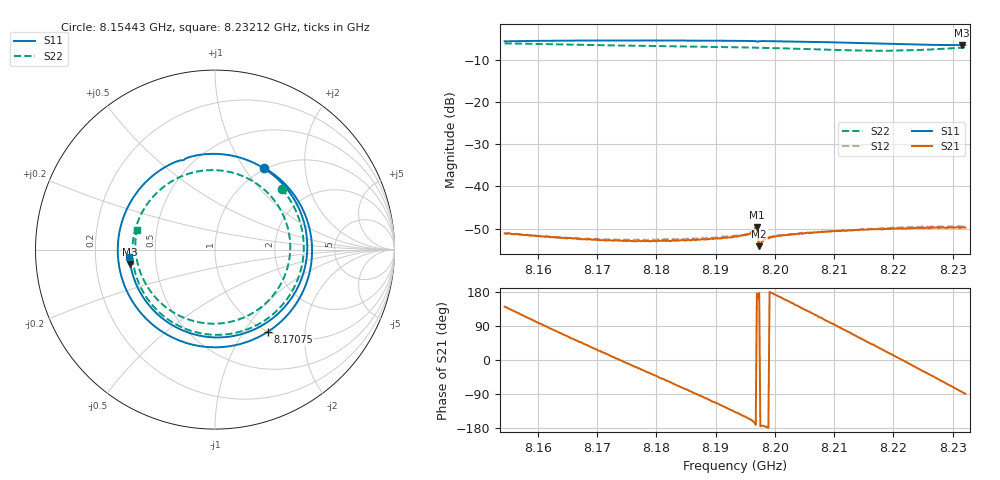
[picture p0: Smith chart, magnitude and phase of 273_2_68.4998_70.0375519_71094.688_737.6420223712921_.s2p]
#  HZ  S  RI  R  50.00
! Rohde & Schwarz Vector Network Analyzer
! Rohde-Schwarz,ZNB20-2Port,1311601062101988,3.16
! Created: UTC 3/20/2024, 5:00:50 PM
! freq[Hz]  re:S11  im:S11  re:S21  im:S21  re:S12  im:S12  re:S22  im:S22
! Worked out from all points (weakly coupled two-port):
!   401 points, 8.15443 GHz to 8.23212 GHz, reference 50 ohm
!   highest |S21| = -49.63 dB at 8.19697 GHz (marker M1); lowest = -54.2 dB at 8.19736 GHz (marker M2)
!   lowest |S11| = -6.4 dB at 8.23154 GHz (marker M3), VSWR 2.84, Z = 17.7 - j3.71 ohm
!   |S11| at or under -10 dB: nowhere
!   |S22| runs from -7.7 to -6.0 dB; largest |S21 - S12| = 0.00026
!   S11 on the Smith chart (normalised r, x): 8.15443 GHz: 0.97, +1.24; 8.17075 GHz: 0.99, -1.29; 8.23212 GHz: 0.35, -0.04
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8.154431e9  0.2729 0.4562  -0.00214 0.00174  -0.00216 0.00177  0.3707 0.3394
8.161229e9  0.531 0.0964  1.69e-07 0.00251  3.67e-06 0.00256  0.4907 -0.048
8.167444e9  0.4509 -0.3035  0.00167 0.00169  0.00168 0.00172  0.3177 -0.3641
8.170746e9  0.2926 -0.459  0.00214 0.000831  0.00222 0.000891  0.1494 -0.4547
8.175602e9  -0.0224 -0.5439  0.0022 -0.000472  0.00231 -0.000478  -0.1249 -0.4551
8.180458e9  -0.3315 -0.431  0.00157 -0.00161  0.0016 -0.00171  -0.3512 -0.3069
8.187062e9  -0.5407 -0.0378  -7.35e-05 -0.00233  -0.000129 -0.0024  -0.4583 0.0354
8.193277e9  -0.3996 0.362  -0.00187 -0.00173  -0.00195 -0.00173  -0.3037 0.3354
8.196579e9  -0.2074 0.4932  -0.00297 -0.000779  -0.00307 -0.000667  -0.1426 0.424
8.196968e9  -0.18 0.4975  -0.00329 0.000276  -0.00337 0.000408  -0.1214 0.4298
8.197356e9  -0.1626 0.5075  -0.00195 0.000104  -0.00198 0.000181  -0.1004 0.4347
8.197745e9  -0.1354 0.5174  -0.00216 -0.000249  -0.0022 -0.000155  -0.0786 0.4384
8.201629e9  0.1376 0.513  -0.00247 0.000918  -0.00248 0.001  0.139 0.4156
8.206291e9  0.4064 0.3307  -0.00155 0.00235  -0.00148 0.00241  0.3479 0.25
8.209399e9  0.5008 0.1321  -0.000407 0.0029  -0.000353 0.00292  0.4142 0.0785
8.212507e9  0.5035 -0.0886  0.000861 0.00289  0.00096 0.00287  0.4012 -0.1095
8.215614e9  0.4116 -0.2906  0.00207 0.00227  0.00218 0.00225  0.3048 -0.2772
8.219305e9  0.2027 -0.4519  0.00297 0.000963  0.00308 0.000868  0.1023 -0.3986
8.224938e9  -0.1939 -0.444  0.00279 -0.00157  0.00285 -0.00173  -0.2586 -0.3323
8.228434e9  -0.3867 -0.285  0.00175 -0.00275  0.00164 -0.00291  -0.408 -0.1457
8.231541e9  -0.4723 -0.0806  0.000307 -0.00323  0.000171 -0.00333  -0.4419 0.0676
8.232124e9  -0.4775 -0.0392  6.15e-05 -0.00325  -0.000128 -0.00333  -0.4365 0.1083
